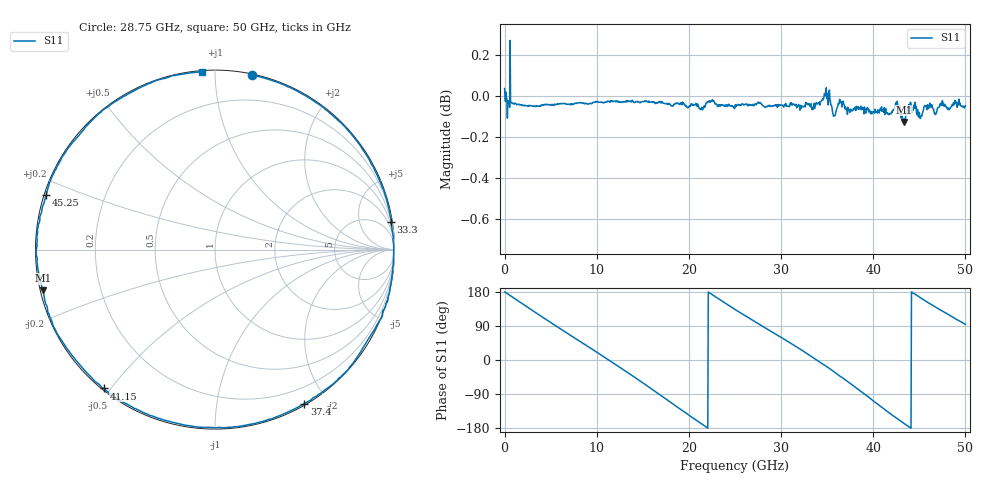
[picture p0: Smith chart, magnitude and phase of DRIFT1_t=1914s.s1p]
!Created with skrf (http://scikit-rf.org).
# Hz S RI R 50.0
!freq ReS11 ImS11
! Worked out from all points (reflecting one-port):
!   1001 points, 300 kHz to 50 GHz, reference 50 ohm
!   lowest |S11| = -0.1 dB at 43.3 GHz (marker M1), VSWR 138.00, Z = 0.367 - j5.81 ohm
!   phase of S11 starts at 179 deg and turns -805 deg over the sweep
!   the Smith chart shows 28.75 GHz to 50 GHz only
!   S11 on the Smith chart (normalised r, x): 28.75 GHz: 0.01, +1.23; 33.3 GHz: 1, +13; 37.4 GHz: 0.02, -1.73; 41.15 GHz: 0.01, -0.48; 45.25 GHz: 0.01, +0.16; 50 GHz: 0.01, +0.93
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300000  -1.004 0.00878
1.65029e9  -0.8869 0.4511
3.500279e9  -0.54 0.835
6.250262e9  0.1868 0.978
7.850253e9  0.5821 0.8082
9.650242e9  0.8933 0.4415
1.250022e10  0.9409 -0.3287
1.400022e10  0.7209 -0.6879
1.58502e10  0.2646 -0.9608
1.73002e10  -0.1643 -0.9822
1.875019e10  -0.563 -0.8216
2.035018e10  -0.8761 -0.4724
2.190017e10  -0.9947 -0.0493
2.500015e10  -0.6829 0.7227
2.690014e10  -0.2568 0.9616
2.875013e10  0.2044 0.9735
3.125011e10  0.7486 0.6562
3.33001e10  0.9816 0.1546
3.525009e10  0.9278 -0.382
3.740008e10  0.4971 -0.8587
3.750008e10  0.4683 -0.8753
3.930006e10  -0.071 -0.99
4.115005e10  -0.6194 -0.7734
4.330004e10  -0.9593 -0.2261
4.375004e10  -0.989 -0.0951
4.525003e10  -0.9418 0.3025
4.760001e10  -0.6091 0.7881
5e10  -0.0699 0.9921
